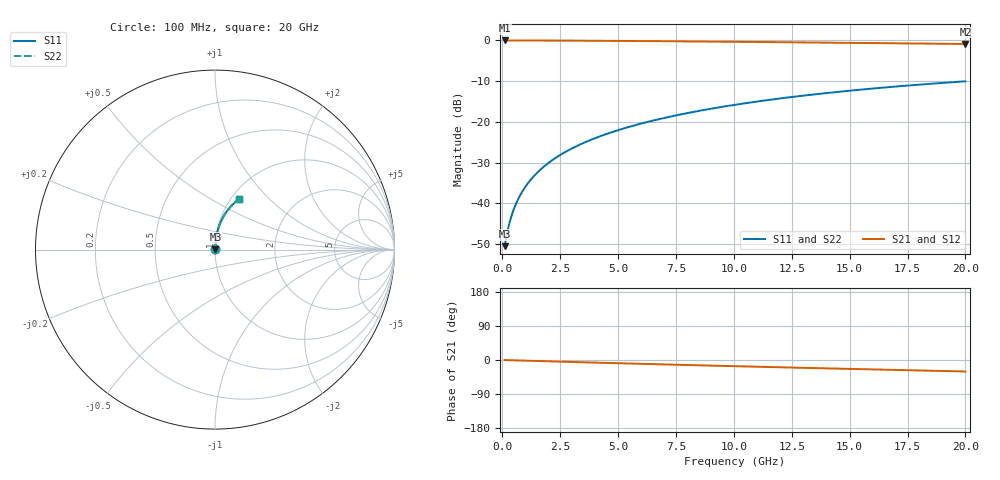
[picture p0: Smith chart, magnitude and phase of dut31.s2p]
! Touchstone file exported from HFSS 2024.1.0
!  File:  C:/UserFiles/LocalFiles/RDL_TSV_Batchsim/temp_RDL_bottom_31_1778692178.aedt
!  Generated:  01:11:57 AM May 14, 2026
!  Design:  RDL_bottom
!  Project:  temp_RDL_bottom_31_1778692178
!  Setup:  Setup1
!  Solution:  Sweep
! Variables:
!  dtsv = 10.80580581um
!  hbump = 3um
!  htsv = 65.98um
!  ldown = 411.09um
!  lrdl = 100um
!  p = 40
!  p1 = 44.22um
!  rhole = 1um
!  t = 450um
!  tdown = 3.63um
!  trdl = 3.915915916um
!  wdown = 17.43um
!  wrdl = 20um
# GHz S MA R 50.000000
! Terminal data exported
! Port[1] = RDL1_T1
! Port[2] = RDL1_T2
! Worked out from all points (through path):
!   200 points, 100 MHz to 20 GHz, reference 50 ohm
!   highest |S21| = -0.02 dB at 100 MHz (marker M1); lowest = -0.9 dB at 20 GHz (marker M2)
!   group delay of S21, straight-line fit = 4.18 ps
!   lowest |S11| = -50.5 dB at 100 MHz (marker M3), VSWR 1.01, Z = 50.2 + j0.169 ohm
!   |S11| at or under -10 dB: start of sweep to end of sweep
!   |S22| runs from -50.5 to -10.0 dB; largest |S21 - S12| = 4.7e-15
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0.1  0.002982 34.3  0.9975 -0.2  0.9975 -0.2  0.002982 34.3
! Gamma 0 0 0 0
! Port Impedance 50 0 50 0
0.2  0.004189 52.6  0.9974 -0.4  0.9974 -0.4  0.004189 52.6
0.3  0.00559 61.7  0.9973 -0.5  0.9973 -0.5  0.00559 61.7
0.4  0.007044 67.1  0.9972 -0.7  0.9972 -0.7  0.007044 67.1
0.5  0.008515 70.6  0.9971 -0.9  0.9971 -0.9  0.008515 70.6
0.6  0.009998 73.1  0.997 -1.1  0.997 -1.1  0.009998 73.1
0.8  0.01299 76.5  0.9968 -1.4  0.9968 -1.4  0.01299 76.5
1.1  0.01754 79.5  0.9964 -1.9  0.9964 -1.9  0.01754 79.5
1.3  0.02059 80.7  0.9961 -2.3  0.9961 -2.3  0.02059 80.7
1.6  0.02521 81.9  0.9957 -2.8  0.9957 -2.8  0.02521 81.9
2.1  0.03297 83.1  0.9947 -3.7  0.9947 -3.7  0.03297 83.1
2.7  0.04236 83.7  0.9933 -4.7  0.9933 -4.7  0.04236 83.7
3.5  0.055 83.9  0.991 -6.0  0.991 -6.0  0.055 83.9
4.2  0.06618 83.7  0.9885 -7.2  0.9885 -7.2  0.06618 83.7
5  0.07907 83.3  0.9854 -8.5  0.9854 -8.5  0.07907 83.3
5.9  0.0937 82.6  0.9815 -10.0  0.9815 -10.0  0.09371 82.6
6.8  0.1085 81.8  0.9774 -11.4  0.9774 -11.4  0.1085 81.8
8.4  0.1348 80.0  0.9694 -13.9  0.9694 -13.9  0.1348 80.0
10.1  0.1628 77.9  0.9604 -16.5  0.9604 -16.5  0.1629 77.9
13.4  0.2162 73.4  0.942 -21.3  0.942 -21.3  0.2162 73.5
16.7  0.2671 68.8  0.9227 -25.9  0.9227 -25.9  0.2671 68.9
20  0.3146 64.3  0.9028 -30.3  0.9028 -30.3  0.3146 64.3
